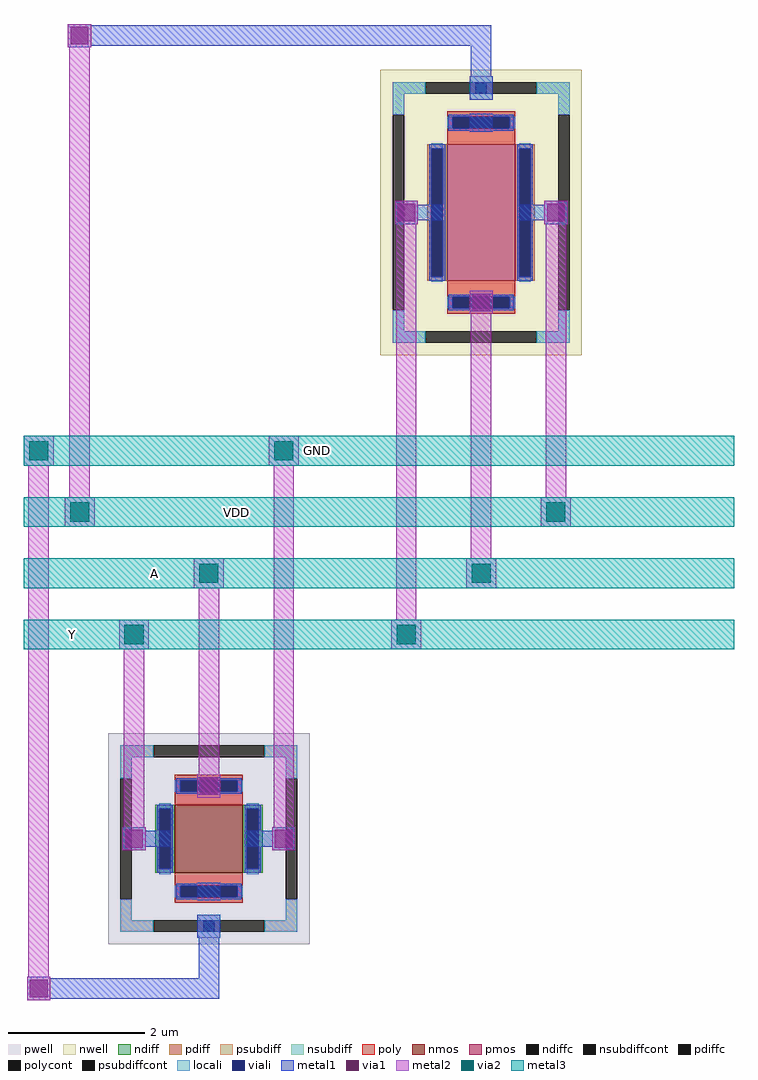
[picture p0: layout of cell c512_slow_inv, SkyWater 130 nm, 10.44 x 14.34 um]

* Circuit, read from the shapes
.subckt c512_slow_inv Y A VDD GND
XM1 GND A Y GND sky130_fd_pr__nfet_01v8 w=1 l=1
XM2 VDD A Y VDD sky130_fd_pr__pfet_01v8 w=2 l=1
.ends

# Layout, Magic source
magic
tech sky130A
magscale 1 2
<< pwell >>
rect 304 -310 896 310
<< nmos >>
rect 500 -100 700 100
<< ndiff >>
rect 442 88 500 100
rect 442 -88 454 88
rect 488 -88 500 88
rect 442 -100 500 -88
rect 700 88 758 100
rect 700 -88 712 88
rect 746 -88 758 88
rect 700 -100 758 -88
<< ndiffc >>
rect 454 -88 488 88
rect 712 -88 746 88
<< psubdiff >>
rect 340 240 436 274
rect 764 240 860 274
rect 340 178 374 240
rect 826 178 860 240
rect 340 -240 374 -178
rect 826 -240 860 -178
rect 340 -274 436 -240
rect 764 -274 860 -240
<< psubdiffcont >>
rect 436 240 764 274
rect 340 -178 374 178
rect 826 -178 860 178
rect 436 -274 764 -240
<< poly >>
rect 500 172 700 188
rect 500 138 516 172
rect 684 138 700 172
rect 500 100 700 138
rect 500 -138 700 -100
rect 500 -172 516 -138
rect 684 -172 700 -138
rect 500 -188 700 -172
rect 1300 2121 1500 2137
rect 1300 2087 1316 2121
rect 1484 2087 1500 2121
rect 1300 2040 1500 2087
rect 1300 1593 1500 1640
rect 1300 1559 1316 1593
rect 1484 1559 1500 1593
rect 1300 1543 1500 1559
<< polycont >>
rect 516 138 684 172
rect 516 -172 684 -138
rect 1316 2087 1484 2121
rect 1316 1559 1484 1593
<< locali >>
rect 340 240 436 274
rect 764 240 860 274
rect 340 178 374 240
rect 826 178 860 240
rect 500 138 516 172
rect 684 138 700 172
rect 454 88 488 104
rect 454 -104 488 -88
rect 712 88 746 104
rect 712 -104 746 -88
rect 500 -172 516 -138
rect 684 -172 700 -138
rect 340 -240 374 -178
rect 826 -240 860 -178
rect 340 -274 436 -240
rect 764 -274 860 -240
rect 566 -291 634 -223
rect 1140 2189 1236 2223
rect 1564 2189 1660 2223
rect 1140 2127 1174 2189
rect 1626 2127 1660 2189
rect 1300 2087 1316 2121
rect 1484 2087 1500 2121
rect 1254 2028 1288 2044
rect 1254 1636 1288 1652
rect 1512 2028 1546 2044
rect 1512 1636 1546 1652
rect 1300 1559 1316 1593
rect 1484 1559 1500 1593
rect 1140 1491 1174 1553
rect 1626 1491 1660 1553
rect 1140 1457 1236 1491
rect 1564 1457 1660 1491
rect 1366 2172 1434 2240
<< viali >>
rect 516 138 684 172
rect 454 -88 488 88
rect 712 -88 746 88
rect 516 -172 684 -138
rect 583 -274 617 -240
rect 1316 2087 1484 2121
rect 1254 1652 1288 2028
rect 1512 1652 1546 2028
rect 1316 1559 1484 1593
rect 1383 2189 1417 2223
<< metal1 >>
rect 504 172 696 178
rect 504 138 516 172
rect 684 138 696 172
rect 504 132 696 138
rect 448 88 494 100
rect 448 -88 454 88
rect 488 -88 494 88
rect 448 -100 494 -88
rect 706 88 752 100
rect 706 -88 712 88
rect 746 -88 752 88
rect 706 -100 752 -88
rect 504 -138 696 -132
rect 504 -172 516 -138
rect 684 -172 696 -138
rect 504 -178 696 -172
rect 566 -181 634 -129
rect 566 129 634 181
rect 357 -23 494 23
rect 346 -34 414 34
rect 706 -23 843 23
rect 786 -34 854 34
rect 566 129 634 181
rect 566 -291 634 -223
rect 570 -470 630 -227
rect 1304 2121 1496 2127
rect 1304 2087 1316 2121
rect 1484 2087 1496 2121
rect 1304 2081 1496 2087
rect 1248 2028 1294 2040
rect 1248 1652 1254 2028
rect 1288 1652 1294 2028
rect 1248 1640 1294 1652
rect 1506 2028 1552 2040
rect 1506 1652 1512 2028
rect 1546 1652 1552 2028
rect 1506 1640 1552 1652
rect 1304 1593 1496 1599
rect 1304 1559 1316 1593
rect 1484 1559 1496 1593
rect 1304 1553 1496 1559
rect 1366 1550 1434 1602
rect 1366 2078 1434 2130
rect 1157 1817 1294 1863
rect 1146 1806 1214 1874
rect 1506 1817 1643 1863
rect 1586 1806 1654 1874
rect 1366 1550 1434 1602
rect 1366 2172 1434 2240
rect 1370 2176 1430 2390
rect 70 -470 630 -410
rect 66 -474 134 -406
rect 190 2330 1430 2390
rect 186 2326 254 2394
<< via1 >>
rect 354 -26 406 26
rect 794 -26 846 26
rect 574 129 626 181
rect 1154 1814 1206 1866
rect 1594 1814 1646 1866
rect 1374 1550 1426 1602
rect 74 -466 126 -414
rect 194 2334 246 2386
<< metal2 >>
rect 346 -34 414 34
rect 786 -34 854 34
rect 566 121 634 189
rect 1146 1806 1214 1874
rect 1586 1806 1654 1874
rect 1366 1542 1434 1610
rect 66 -474 134 -406
rect 186 2326 254 2394
rect 350 -30 410 630
rect 336 556 424 644
rect 1150 570 1210 1870
rect 1136 556 1224 644
rect 790 -30 850 1170
rect 776 1096 864 1184
rect 70 -470 130 1170
rect 56 1096 144 1184
rect 570 125 630 810
rect 556 736 644 824
rect 1370 750 1430 1606
rect 1356 736 1444 824
rect 1590 930 1650 1870
rect 1576 916 1664 1004
rect 190 930 250 2390
rect 176 916 264 1004
<< nwell >>
rect 1104 1421 1696 2259
<< pmos >>
rect 1300 1640 1500 2040
<< pdiff >>
rect 1242 2028 1300 2040
rect 1242 1652 1254 2028
rect 1288 1652 1300 2028
rect 1242 1640 1300 1652
rect 1500 2028 1558 2040
rect 1500 1652 1512 2028
rect 1546 1652 1558 2028
rect 1500 1640 1558 1652
<< pdiffc >>
rect 1254 1652 1288 2028
rect 1512 1652 1546 2028
<< nsubdiff >>
rect 1140 2189 1236 2223
rect 1564 2189 1660 2223
rect 1140 2127 1174 2189
rect 1626 2127 1660 2189
rect 1140 1491 1174 1553
rect 1626 1491 1660 1553
rect 1140 1457 1236 1491
rect 1564 1457 1660 1491
<< nsubdiffcont >>
rect 1236 2189 1564 2223
rect 1140 1553 1174 2127
rect 1626 1553 1660 2127
rect 1236 1457 1564 1491
<< metal3 >>
rect 56 556 2144 644
rect 336 556 424 644
rect 1136 556 1224 644
rect 56 1096 2144 1184
rect 776 1096 864 1184
rect 56 1096 144 1184
rect 56 736 2144 824
rect 556 736 644 824
rect 1356 736 1444 824
rect 56 916 2144 1004
rect 1576 916 1664 1004
rect 176 916 264 1004
<< via2 >>
rect 352 572 408 628
rect 1152 572 1208 628
rect 792 1112 848 1168
rect 72 1112 128 1168
rect 572 752 628 808
rect 1372 752 1428 808
rect 1592 932 1648 988
rect 192 932 248 988
<< labels >>
rlabel metal3 200 600 200 600 0 Y
port 1 nsew signal bidirectional
rlabel metal3 920 1140 920 1140 0 GND
port 4 nsew signal bidirectional
rlabel metal3 440 780 440 780 0 A
port 2 nsew signal bidirectional
rlabel metal3 680 960 680 960 0 VDD
port 3 nsew signal bidirectional
<< end >>
